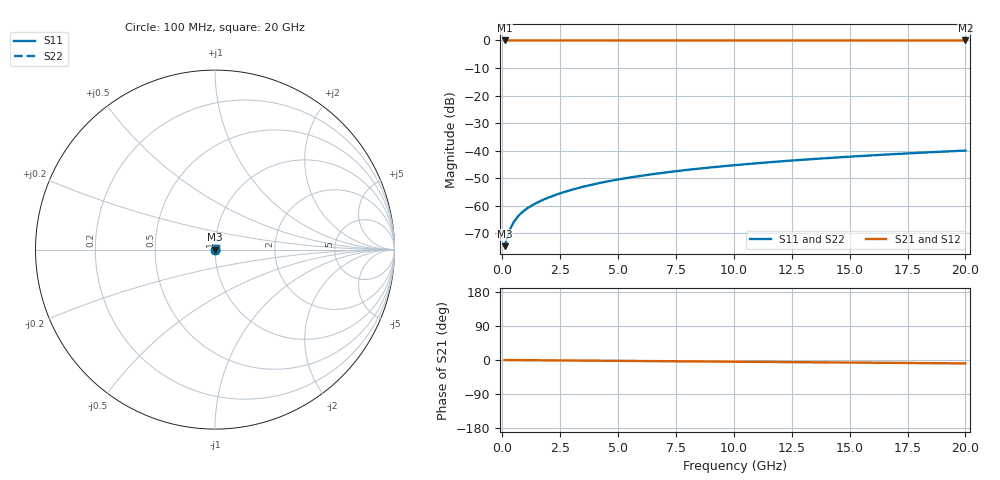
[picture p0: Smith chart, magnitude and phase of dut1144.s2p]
! Touchstone file exported from HFSS 2026.1.0
!  File:  C:/ffzhzh/LocalFiles/Ansys_Project_Files/temp_train_TSV_1144_1783191428_55132.aedt
!  Generated:  02:59:15 AM Jul  5, 2026
!  Design:  TSV
!  Project:  temp_train_TSV_1144_1783191428_55132
! Variables:
!  h_bsmrdl = 2um
!  h_ox = 20um
!  h_rdl = 5um
!  h_sub = 91.94um
!  h_tmrdl = 5um
!  h_tsv = 91.94um
!  h_via = 3um
!  l_bsmrdl = 300um
!  l_sub = 418.96um
!  l_tmrdl = 200um
!  m_sub = 200um
!  pitch = 41.35um
!  r_tsv = 9.48um
!  s_tmrdl = 10um
!  w_bsmrdl = 18um
!  w_sub = 500um
!  w_tmrdl = 12um
!  x_tsv_center1 = 206um
!  x_tsv_center2 = 524um
!  x_tsv_center3 = 736um
!  x_tsv_center4 = 1054um
!  x_tsv_center5 = 1266um
!  x_tsv_center6 = 1584um
# GHz S MA R 50.000000
! Terminal data exported
! Port[1] = TSV1_1_T1
! Port[2] = TSV1_1_T2
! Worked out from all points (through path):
!   200 points, 100 MHz to 20 GHz, reference 50 ohm
!   highest |S21| = 0.00 dB at 100 MHz (marker M1); lowest = 0.0 dB at 20 GHz (marker M2)
!   group delay of S21, straight-line fit = 1.25 ps
!   lowest |S11| = -74.7 dB at 100 MHz (marker M3), VSWR 1.00, Z = 50 + j0.00984 ohm
!   |S11| at or under -10 dB: start of sweep to end of sweep
!   |S22| runs from -74.7 to -40.0 dB; largest |S21 - S12| = 4e-15
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0.1  0.0001834 32.4  0.9998 -0.0  0.9998 -0.0  0.0001834 32.4
! Gamma 0 0 0 0
! Port Impedance 50 0 50 0
0.2  0.0002565 49.1  0.9998 -0.1  0.9998 -0.1  0.0002565 49.1
0.3  0.0003407 56.5  0.9998 -0.1  0.9998 -0.1  0.0003407 56.5
0.4  0.0004249 59.9  0.9998 -0.2  0.9998 -0.2  0.0004249 59.9
0.5  0.0005055 61.7  0.9998 -0.2  0.9998 -0.2  0.0005055 61.7
0.6  0.0005814 62.7  0.9997 -0.3  0.9997 -0.3  0.0005814 62.7
0.7  0.0006527 63.3  0.9997 -0.3  0.9997 -0.3  0.0006527 63.3
0.8  0.00072 63.8  0.9997 -0.4  0.9997 -0.4  0.00072 63.8
1  0.0008453 64.6  0.9996 -0.5  0.9996 -0.5  0.0008453 64.6
1.4  0.001075 66.3  0.9996 -0.6  0.9996 -0.6  0.001075 66.3
2  0.001403 68.6  0.9995 -0.9  0.9995 -0.9  0.001403 68.6
2.7  0.00178 70.5  0.9994 -1.2  0.9994 -1.2  0.00178 70.5
3.5  0.002206 71.9  0.9994 -1.6  0.9994 -1.6  0.002206 71.9
4.2  0.002572 72.6  0.9993 -1.9  0.9993 -1.9  0.002572 72.6
5  0.002983 73.1  0.9992 -2.3  0.9992 -2.3  0.002983 73.1
5.9  0.003435 73.5  0.9992 -2.7  0.9992 -2.7  0.003435 73.5
6.8  0.003879 73.8  0.9991 -3.1  0.9991 -3.1  0.003879 73.8
8.3  0.004606 74.0  0.999 -3.8  0.999 -3.8  0.004606 74.0
10.1  0.005464 74.1  0.9989 -4.6  0.9989 -4.6  0.005464 74.1
13.4  0.007009 73.8  0.9987 -6.0  0.9987 -6.0  0.007009 73.8
16.7  0.008522 73.2  0.9986 -7.5  0.9986 -7.5  0.008522 73.2
20  0.009997 72.3  0.9984 -9.0  0.9984 -9.0  0.009997 72.3
